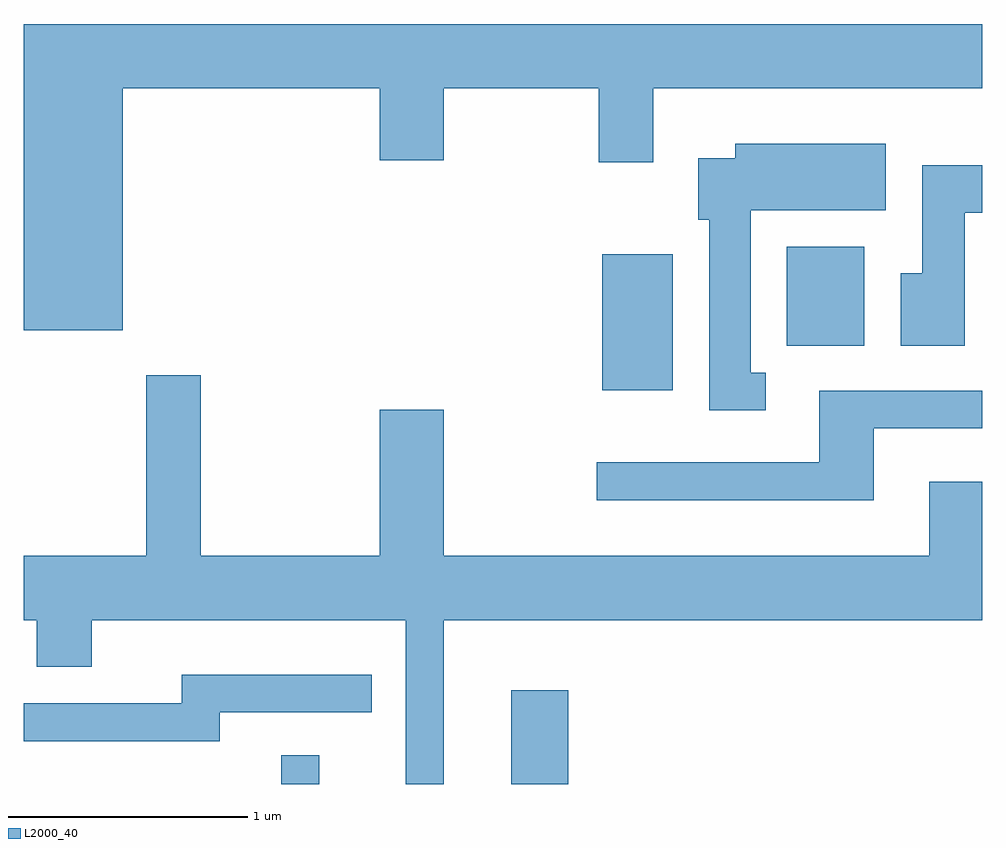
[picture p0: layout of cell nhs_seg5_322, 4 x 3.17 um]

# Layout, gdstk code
import gdstk
lib = gdstk.Library(unit=1e-6, precision=1e-09)
def R(c, l, rs):  # rectangles x0, y0, x1, y1
    for r in rs: c.add(gdstk.rectangle(r[:2], r[2:], *l))
def P(c, l, *ps):  # polygons
    for p in ps: c.add(gdstk.Polygon(p, *l))
L2000_40 = (2000, 40)

nhs_seg5_322 = lib.new_cell('nhs_seg5_322')
R(nhs_seg5_322, L2000_40, [(194.686,1496.072,194.844,1496.193), (195.646,1496.072,195.884,1496.464), (196.026,1497.716,196.319,1498.284), (196.796,1497.901,197.119,1498.314)])
P(nhs_seg5_322, L2000_40, [(194.024,1498.976),(195.096,1498.976),(195.096,1498.676),(195.364,1498.676),(195.364,1498.976),(196.011,1498.976),(196.011,1498.666),(196.239,1498.666),(196.239,1498.976),(197.611,1498.976),(197.611,1499.244),(193.611,1499.244),(193.611,1497.966),(194.024,1497.966)],
  [(196.708,1497.789),(196.644,1497.789),(196.644,1498.466),(197.209,1498.466),(197.209,1498.744),(196.581,1498.744),(196.581,1498.684),(196.426,1498.684),(196.426,1498.426),(196.471,1498.426),(196.471,1497.631),(196.708,1497.631)],
  [(197.539,1498.456),(197.611,1498.456),(197.611,1498.654),(197.361,1498.654),(197.361,1498.204),(197.271,1498.204),(197.271,1497.901),(197.539,1497.901)],
  [(195.364,1496.756),(197.611,1496.756),(197.611,1497.334),(197.391,1497.334),(197.391,1497.024),(195.364,1497.024),(195.364,1497.634),(195.096,1497.634),(195.096,1497.024),(194.349,1497.024),(194.349,1497.779),(194.121,1497.779),(194.121,1497.024),(193.611,1497.024),(193.611,1496.756),(193.666,1496.756),(193.666,1496.561),(193.894,1496.561),(193.894,1496.756),(195.206,1496.756),(195.206,1496.072),(195.364,1496.072)],
  [(197.159,1497.556),(197.611,1497.556),(197.611,1497.714),(196.931,1497.714),(196.931,1497.414),(196.003,1497.414),(196.003,1497.256),(197.159,1497.256)],
  [(194.429,1496.371),(195.063,1496.371),(195.063,1496.529),(194.271,1496.529),(194.271,1496.409),(193.611,1496.409),(193.611,1496.251),(194.429,1496.251)])

lib.write_gds('nhs_seg5_322.gds')
